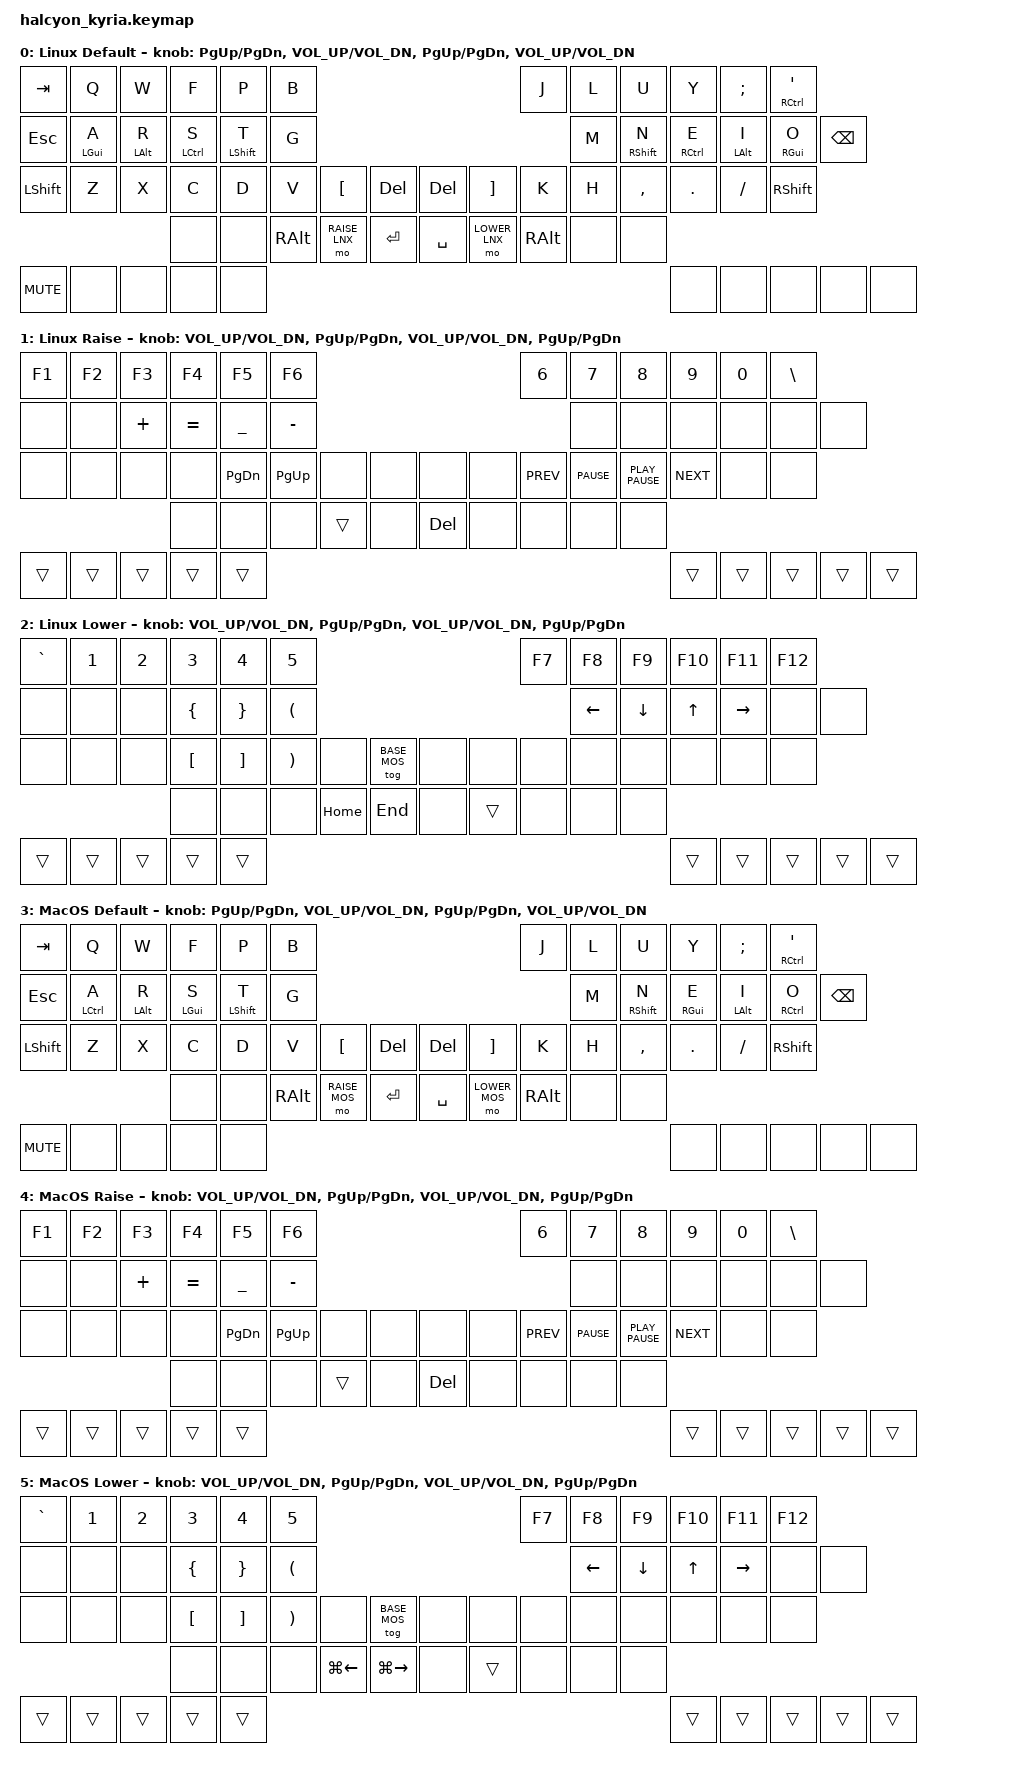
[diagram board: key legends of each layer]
/*
 * Copyright (c) 2023 The ZMK Contributors
 * Copyright (c) 2026 Splitkb.com
 *
 * SPDX-License-Identifier: MIT
 */

#include <behaviors.dtsi>
#include <dt-bindings/zmk/bt.h>
#include <dt-bindings/zmk/keys.h>
#include <dt-bindings/zmk/rgb.h>
#include <dt-bindings/zmk/ext_power.h>

#define BASE_LNX  0
#define RAISE_LNX 1
#define LOWER_LNX 2
#define BASE_MOS  3
#define RAISE_MOS 4
#define LOWER_MOS 5

/ {
    behaviors {
        hml: home_row_mod_left {
            compatible = "zmk,behavior-hold-tap";
            #binding-cells = <2>;
            flavor = "balanced";
            require-prior-idle-ms = <100>;
            tapping-term-ms = <280>;
            quick-tap-ms = <0>;
            bindings = <&kp>, <&kp>;
            // Right half (6-11, 18-23, 32-39) plus all thumb keys (40-49)
            hold-trigger-key-positions = <6 7 8 9 10 11 18 19 20 21 22 23 32 33 34 35 36 37 38 39 40 41 42 43 44 45 46 47 48 49>;
            hold-trigger-on-release;
        };

        hmr: home_row_mod_right {
            compatible = "zmk,behavior-hold-tap";
            #binding-cells = <2>;
            flavor = "balanced";
            require-prior-idle-ms = <100>;
            tapping-term-ms = <280>;
            quick-tap-ms = <0>;
            bindings = <&kp>, <&kp>;
            // Left half (0-5, 12-17, 24-31) plus all thumb keys (40-49)
            hold-trigger-key-positions = <0 1 2 3 4 5 12 13 14 15 16 17 24 25 26 27 28 29 30 31 40 41 42 43 44 45 46 47 48 49>;
            hold-trigger-on-release;
        };
    };
};

/ {
    keymap {
        compatible = "zmk,keymap";

        base_linux_layer {
            display-name = "Linux Default";
// ---------------------------------------------------------------------------------------------------------------
// |  TAB  |   Q   |   W   |   F   |   P   |  B   |                                       |  J   |   L   |   U   |   Y   |   ;   |  '   |
// |  ESC  | LG(A) | LA(R) | LC(S) | LS(T) |  G   |                                       |  M   | RS(N) | RC(E) | LA(I) | RG(O) | BKSP |
// |  SHFT |   Z   |   X   |   C   |   D   |  V   |     [     | DEL |   | DEL |     ]     |  K   |   H   |   ,   |   .   |   /   | SHFT |
//                         |       |       | RALT | RAISE_LNX | ENT |   | SPC | LOWER_LNX | RALT |       |       |
            bindings = <
&kp TAB       &kp Q      &kp W      &kp F       &kp P        &kp B                                                        &kp J    &kp L        &kp U       &kp Y      &kp SEMI   &mt RCTRL SQT
&kp ESC       &hml LGUI A &hml LALT R &hml LCTRL S &hml LSHIFT T &kp G                                                        &kp M    &hmr RSHIFT N &hmr RCTRL E &hmr LALT I &hmr RGUI O &kp BSPC
&kp LSHFT     &kp Z      &kp X      &kp C       &kp D        &kp V    &kp LBKT      &kp DEL       &kp DEL   &kp RBKT      &kp K    &kp H        &kp COMMA   &kp DOT    &kp FSLH   &kp RSHFT
                                    &none       &none        &kp RALT &mo RAISE_LNX &kp RET       &kp SPACE &mo LOWER_LNX &kp RALT &none        &none
// Encoder press buttons
&kp K_MUTE &none &none &none &none                                                                                                                        &none &none &none &none &none

            >;
            sensor-bindings = <&inc_dec_kp PG_UP PG_DN &inc_dec_kp C_VOL_UP C_VOL_DN &inc_dec_kp PG_UP PG_DN &inc_dec_kp C_VOL_UP C_VOL_DN>;
        };


        raise_linux_layer {
            display-name = "Linux Raise";
// ------------------------------------------------------------------------------------------------------------
// | F1 | F2 | F3 | F4 |  F5   |  F6   |                            |  6   |   7   |   8  |  9   | 0 | \ |
// |    |    | +  | =  |   _   |   -   |                            |      |       |      |      |   |   |
// |    |    |    |    | PG_DN | PG_UP |   |   |          |     |   | PREV | PAUSE | PLAY | NEXT |   |   |
//                |    |       |       |   |   |          | DEL |   |      |       |      |
            bindings = <
&kp F1 &kp F2 &kp F3   &kp F4    &kp F5    &kp F6                                       &kp N6     &kp N7      &kp N8           &kp N9     &kp N0 &kp BSLH
&none  &none  &kp PLUS &kp EQUAL &kp UNDER &kp MINUS                                    &none      &none       &none            &none      &none  &none
&none  &none  &none    &none     &kp PG_DN &kp PG_UP &none  &none         &none   &none &kp K_PREV &kp C_PAUSE &kp K_PLAY_PAUSE &kp K_NEXT &none  &none
                       &none     &none     &none     &trans &none         &kp DEL &none &none      &none       &none

&trans &trans &trans &trans &trans                                                                                    &trans &trans &trans &trans &trans
            >;
            sensor-bindings = <&inc_dec_kp C_VOL_UP C_VOL_DN &inc_dec_kp PG_UP PG_DN &inc_dec_kp C_VOL_UP C_VOL_DN &inc_dec_kp PG_UP PG_DN>;
        };

        lower_linux_layer {
            display-name = "Linux Lower";
// -----------------------------------------------------------------------------------------------------
// |  `  |  1  |  2  |  3  |  4  |  5  |                                   |  F7  |  F8  |  F9  |  F10  | F11 | F12 |
// |     |     |     |  {  |  }  |  (  |                                   | LEFT | DOWN |  UP  | RIGHT |     |     |
// |     |     |     |  [  |  ]  |  )  |      | BASE_MOS |         |   |   |      |      |      |       |     |     |
//                   |     |     |     | HOME | END      |         |   |   |      |      |      |
            bindings = <
&kp GRAVE &kp N1 &kp N2 &kp N3   &kp N4   &kp N5                                         &kp F7   &kp F8    &kp F9  &kp F10   &kp F11  &kp F12
&none     &none  &none  &kp LBRC &kp RBRC &kp LPAR                                       &kp LEFT &kp DOWN  &kp UP  &kp RIGHT &none    &none
&none     &none  &none  &kp LBKT &kp RBKT &kp RPAR &none    &tog BASE_MOS         &none  &none  &none    &none     &none   &none     &none    &none
                        &none    &none    &none    &kp HOME &kp  END              &none  &trans &none    &none     &none

&trans &trans &trans &trans &trans                                                                         &trans &trans &trans &trans &trans
            >;
            sensor-bindings = <&inc_dec_kp C_VOL_UP C_VOL_DN &inc_dec_kp PG_UP PG_DN &inc_dec_kp C_VOL_UP C_VOL_DN &inc_dec_kp PG_UP PG_DN>;
        };

        base_macos_layer {
            display-name = "MacOS Default";
// ---------------------------------------------------------------------------------------------------------------
// |  TAB  |   Q   |   W   |   F   |   P   |  B   |                                       |  J   |   L   |   U   |   Y   |   ;   |  '   |
// |  ESC  | LC(A) | LA(R) | LG(S) | LS(T) |  G   |                                       |  M   | RS(N) | RG(E) | LA(I) | RC(O) | BKSP |
// |  SHFT |   Z   |   X   |   C   |   D   |  V   |     [     | DEL |   | DEL |     ]     |  K   |   H   |   ,   |   .   |   /   | SHFT |
//                         |       |       | RALT | RAISE_MOS | ENT |   | SPC | LOWER_MOS | RALT |       |       |
            bindings = <
&kp TAB       &kp Q      &kp W      &kp F       &kp P        &kp B                                                        &kp J    &kp L        &kp U       &kp Y      &kp SEMI   &mt RCTRL SQT
&kp ESC       &hml LCTRL A &hml LALT R &hml LGUI S &hml LSHIFT T &kp G                                                    &kp M    &hmr RSHIFT N &hmr RGUI E &hmr LALT I &hmr RCTRL O &kp BSPC
&kp LSHFT     &kp Z      &kp X      &kp C       &kp D        &kp V    &kp LBKT      &kp DEL       &kp DEL   &kp RBKT      &kp K    &kp H        &kp COMMA   &kp DOT    &kp FSLH   &kp RSHFT
                                    &none       &none        &kp RALT &mo RAISE_MOS &kp RET       &kp SPACE &mo LOWER_MOS &kp RALT &none        &none
// Encoder press buttons
&kp K_MUTE &none &none &none &none                                                                                                                        &none &none &none &none &none

            >;
            sensor-bindings = <&inc_dec_kp PG_UP PG_DN &inc_dec_kp C_VOL_UP C_VOL_DN &inc_dec_kp PG_UP PG_DN &inc_dec_kp C_VOL_UP C_VOL_DN>;
        };


        raise_macos_layer {
            display-name = "MacOS Raise";
// ------------------------------------------------------------------------------------------------------------
// | F1 | F2 | F3 | F4 |  F5   |  F6   |                            |  6   |   7   |   8  |  9   | 0 | \ |
// |    |    | +  | =  |   _   |   -   |                            |      |       |      |      |   |   |
// |    |    |    |    | PG_DN | PG_UP |   |   |          |     |   | PREV | PAUSE | PLAY | NEXT |   |   |
//                |    |       |       |   |   |          | DEL |   |      |       |      |
            bindings = <
&kp F1 &kp F2 &kp F3   &kp F4    &kp F5    &kp F6                                       &kp N6     &kp N7      &kp N8           &kp N9     &kp N0 &kp BSLH
&none  &none  &kp PLUS &kp EQUAL &kp UNDER &kp MINUS                                    &none      &none       &none            &none      &none  &none
&none  &none  &none    &none     &kp PG_DN &kp PG_UP &none  &none         &none   &none &kp K_PREV &kp C_PAUSE &kp K_PLAY_PAUSE &kp K_NEXT &none  &none
                       &none     &none     &none     &trans &none         &kp DEL &none &none      &none       &none

&trans &trans &trans &trans &trans                                                                                    &trans &trans &trans &trans &trans
            >;
            sensor-bindings = <&inc_dec_kp C_VOL_UP C_VOL_DN &inc_dec_kp PG_UP PG_DN &inc_dec_kp C_VOL_UP C_VOL_DN &inc_dec_kp PG_UP PG_DN>;
        };

        lower_macos_layer {
            display-name = "MacOS Lower";
// -----------------------------------------------------------------------------------------------------
// |  `  |  1  |  2  |  3  |  4  |  5  |                              |  F7  |  F8  |  F9  |  F10  | F11 | F12 |
// |     |     |     |  {  |  }  |  (  |                              | LEFT | DOWN |  UP  | RIGHT |     |     |
// |     |     |     |  [  |  ]  |  )  |          | BASE_MOS  |         |   |   |      |      |      |       |     |     |
//                   |     |     |     | LG(LEFT) | LG(RIGHT) |         |   |   |      |      |      |
            bindings = <
&kp GRAVE &kp N1 &kp N2 &kp N3   &kp N4   &kp N5                                                          &kp F7   &kp F8    &kp F9  &kp F10   &kp F11  &kp F12
&none     &none  &none  &kp LBRC &kp RBRC &kp LPAR                                                        &kp LEFT &kp DOWN  &kp UP  &kp RIGHT &none    &none
&none     &none  &none  &kp LBKT &kp RBKT &kp RPAR &none        &tog BASE_MOS               &none  &none  &none    &none     &none   &none     &none    &none
                        &none    &none    &none    &kp LG(LEFT) &kp LG(RIGHT)               &none  &trans &none    &none     &none

&trans &trans &trans &trans &trans                                                                         &trans &trans &trans &trans &trans
            >;
            sensor-bindings = <&inc_dec_kp C_VOL_UP C_VOL_DN &inc_dec_kp PG_UP PG_DN &inc_dec_kp C_VOL_UP C_VOL_DN &inc_dec_kp PG_UP PG_DN>;
        };
    };
};
